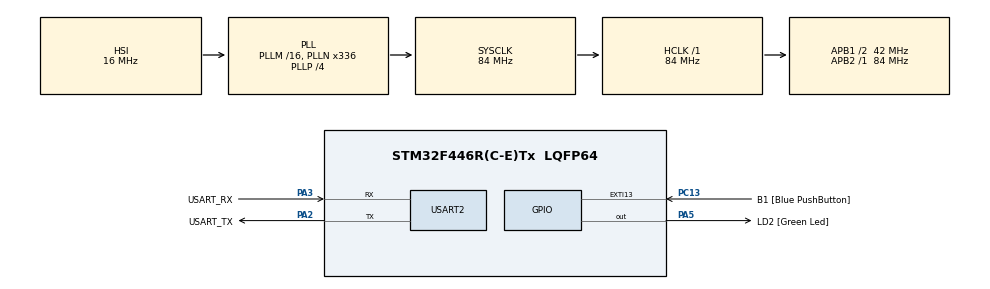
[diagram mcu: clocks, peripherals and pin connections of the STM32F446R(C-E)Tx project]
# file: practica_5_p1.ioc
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Mcu.Family=STM32F4
Mcu.Name=STM32F446R(C-E)Tx
Mcu.Package=LQFP64
NVIC.PriorityGroup=NVIC_PRIORITYGROUP_0
PA13.GPIO_Label=TMS
PA13.Mode=Serial_Wire
PA13.Signal=SYS_JTMS-SWDIO
PA14.GPIO_Label=TCK
PA14.Mode=Serial_Wire
PA14.Signal=SYS_JTCK-SWCLK
PA2.GPIO_Label=USART_TX
PA2.Mode=Asynchronous
PA2.Signal=USART2_TX
PA3.GPIO_Label=USART_RX
PA3.Mode=Asynchronous
PA3.Signal=USART2_RX
PA5.GPIO_Label=LD2 [Green Led]
PA5.Signal=GPIO_Output
PB3.GPIO_Label=SWO
PB3.Signal=SYS_JTDO-SWO
PC13.GPIO_Label=B1 [Blue PushButton]
PC13.GPIO_ModeDefaultEXTI=GPIO_MODE_IT_FALLING
PC13.Signal=GPXTI13
PC14-OSC32_IN.Mode=LSE-External-Oscillator
PC14-OSC32_IN.Signal=RCC_OSC32_IN
PC15-OSC32_OUT.Mode=LSE-External-Oscillator
PC15-OSC32_OUT.Signal=RCC_OSC32_OUT
PH0-OSC_IN.Mode=HSE-External-Oscillator
PH0-OSC_IN.Signal=RCC_OSC_IN
PH1-OSC_OUT.Mode=HSE-External-Oscillator
PH1-OSC_OUT.Signal=RCC_OSC_OUT
ProjectManager.HeapSize=0x200
ProjectManager.StackSize=0x400
ProjectManager.TargetToolchain=STM32CubeIDE
RCC.48MHZClocksFreq_Value=84000000
RCC.AHBFreq_Value=84000000
RCC.APB1CLKDivider=RCC_HCLK_DIV2
RCC.APB1Freq_Value=42000000
RCC.APB1TimFreq_Value=84000000
RCC.APB2Freq_Value=84000000
RCC.APB2TimFreq_Value=84000000
RCC.CortexFreq_Value=84000000
RCC.FLatency-AdvancedSettings=FLASH_LATENCY_2
RCC.HCLKFreq_Value=84000000
RCC.HSE_VALUE=8000000
RCC.HSI_VALUE=16000000
RCC.PLLN=336
RCC.PLLP=RCC_PLLP_DIV4
RCC.SYSCLKFreq_VALUE=84000000
RCC.SYSCLKSource=RCC_SYSCLKSOURCE_PLLCLK
RCC.USBFreq_Value=168000000
RCC.VCOOutputFreq_Value=336000000
USART2.VirtualMode=VM_ASYNC
board=NUCLEO-F446RE

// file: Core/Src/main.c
/* USER CODE BEGIN Header */
/**
 ******************************************************************************
 * @file           : main.c
 * @brief          : Main program body
 ******************************************************************************
 * @attention
 *
 * Copyright (c) 2025 STMicroelectronics.
 * All rights reserved.
 *
 * This software is licensed under terms that can be found in the LICENSE file
 * in the root directory of this software component.
 * If no LICENSE file comes with this software, it is provided AS-IS.
 *
 ******************************************************************************
 */
/* USER CODE END Header */
#include "main.h"

/* USER CODE BEGIN Includes */

#include "API_debounce.h"
#include "API_delay.h"
#include "API_uart.h"

/* USER CODE END Includes */

/* USER CODE BEGIN PM */
#define LED_BLINK_DELAY_T01  500 // parpadeo cada 500 ms
#define LED_BLINK_DELAY_T02  100 // parpadeo cada 100 ms
/* USER CODE END PM */

UART_HandleTypeDef huart2;

/* USER CODE BEGIN PV */

static delay_t blink_delay;       // cronometro no bloqueante del parpadeo del LED
static tick_t  blink_period = LED_BLINK_DELAY_T01; //parpadeo inicial

/* USER CODE END PV */

void SystemClock_Config(void);
static void MX_GPIO_Init(void);
static void MX_USART2_UART_Init(void);

int main(void)
{

  /* MCU Configuration--------------------------------------------------------*/

  /* Reset of all peripherals, Initializes the Flash interface and the Systick. */
  HAL_Init();

  /* USER CODE BEGIN Init */

	debounceFSM_init();
	delayInit(&blink_delay, blink_period);

  /* USER CODE END Init */

  /* Configure the system clock */
  SystemClock_Config();

  /* Initialize all configured peripherals */
  MX_GPIO_Init();
  MX_USART2_UART_Init();

  /* Infinite loop */
	while (1) {

    /* USER CODE BEGIN 3 */

		debounceFSM_update();

		if (readKey()) {
			/* alterna el periodo de parpadeo cada vez que se confirma una pulsación */
			blink_period = (blink_period == LED_BLINK_DELAY_T01) ? LED_BLINK_DELAY_T02 : LED_BLINK_DELAY_T01;
		}

		if (delayRead(&blink_delay)) {
			HAL_GPIO_TogglePin(LD2_GPIO_Port, LD2_Pin);
			delayWrite(&blink_delay, blink_period);
		}
	}
  /* USER CODE END 3 */
}

void SystemClock_Config(void)
{
  RCC_OscInitTypeDef RCC_OscInitStruct = {0};
  RCC_ClkInitTypeDef RCC_ClkInitStruct = {0};

  /** Configure the main internal regulator output voltage
  */
  __HAL_RCC_PWR_CLK_ENABLE();
  __HAL_PWR_VOLTAGESCALING_CONFIG(PWR_REGULATOR_VOLTAGE_SCALE3);

  /** Initializes the RCC Oscillators according to the specified parameters
  * in the RCC_OscInitTypeDef structure.
  */
  RCC_OscInitStruct.OscillatorType = RCC_OSCILLATORTYPE_HSI;
  RCC_OscInitStruct.HSIState = RCC_HSI_ON;
  RCC_OscInitStruct.HSICalibrationValue = RCC_HSICALIBRATION_DEFAULT;
  RCC_OscInitStruct.PLL.PLLState = RCC_PLL_ON;
  RCC_OscInitStruct.PLL.PLLSource = RCC_PLLSOURCE_HSI;
  RCC_OscInitStruct.PLL.PLLM = 16;
  RCC_OscInitStruct.PLL.PLLN = 336;
  RCC_OscInitStruct.PLL.PLLP = RCC_PLLP_DIV4;
  RCC_OscInitStruct.PLL.PLLQ = 2;
  RCC_OscInitStruct.PLL.PLLR = 2;
  if (HAL_RCC_OscConfig(&RCC_OscInitStruct) != HAL_OK)
  {
    Error_Handler();
  }

  /** Initializes the CPU, AHB and APB buses clocks
  */
  RCC_ClkInitStruct.ClockType = RCC_CLOCKTYPE_HCLK|RCC_CLOCKTYPE_SYSCLK
                              |RCC_CLOCKTYPE_PCLK1|RCC_CLOCKTYPE_PCLK2;
  RCC_ClkInitStruct.SYSCLKSource = RCC_SYSCLKSOURCE_PLLCLK;
  RCC_ClkInitStruct.AHBCLKDivider = RCC_SYSCLK_DIV1;
  RCC_ClkInitStruct.APB1CLKDivider = RCC_HCLK_DIV2;
  RCC_ClkInitStruct.APB2CLKDivider = RCC_HCLK_DIV1;

  if (HAL_RCC_ClockConfig(&RCC_ClkInitStruct, FLASH_LATENCY_2) != HAL_OK)
  {
    Error_Handler();
  }
}

static void MX_USART2_UART_Init(void)
{

  huart2.Instance = USART2;
  huart2.Init.BaudRate = 115200;
  huart2.Init.WordLength = UART_WORDLENGTH_8B;
  huart2.Init.StopBits = UART_STOPBITS_1;
  huart2.Init.Parity = UART_PARITY_NONE;
  huart2.Init.Mode = UART_MODE_TX_RX;
  huart2.Init.HwFlowCtl = UART_HWCONTROL_NONE;
  huart2.Init.OverSampling = UART_OVERSAMPLING_16;
  if (HAL_UART_Init(&huart2) != HAL_OK)
  {
    Error_Handler();
  }

}

static void MX_GPIO_Init(void)
{
  GPIO_InitTypeDef GPIO_InitStruct = {0};

  /* GPIO Ports Clock Enable */
  __HAL_RCC_GPIOC_CLK_ENABLE();
  __HAL_RCC_GPIOH_CLK_ENABLE();
  __HAL_RCC_GPIOA_CLK_ENABLE();
  __HAL_RCC_GPIOB_CLK_ENABLE();

  /*Configure GPIO pin Output Level */
  HAL_GPIO_WritePin(LD2_GPIO_Port, LD2_Pin, GPIO_PIN_RESET);

  /*Configure GPIO pin : B1_Pin */
  GPIO_InitStruct.Pin = B1_Pin;
  GPIO_InitStruct.Mode = GPIO_MODE_IT_FALLING;
  GPIO_InitStruct.Pull = GPIO_NOPULL;
  HAL_GPIO_Init(B1_GPIO_Port, &GPIO_InitStruct);

  /*Configure GPIO pin : LD2_Pin */
  GPIO_InitStruct.Pin = LD2_Pin;
  GPIO_InitStruct.Mode = GPIO_MODE_OUTPUT_PP;
  GPIO_InitStruct.Pull = GPIO_NOPULL;
  GPIO_InitStruct.Speed = GPIO_SPEED_FREQ_LOW;
  HAL_GPIO_Init(LD2_GPIO_Port, &GPIO_InitStruct);

}

void Error_Handler(void)
{
	__disable_irq();
	while (1) {
	}
}
